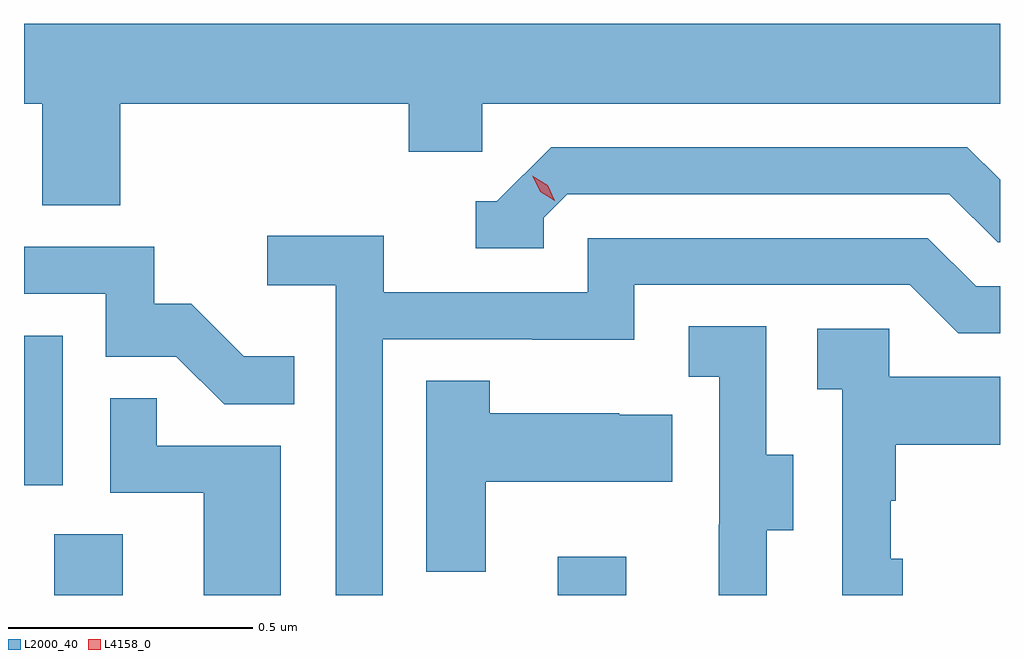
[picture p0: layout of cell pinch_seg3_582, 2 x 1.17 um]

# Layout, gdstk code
import gdstk
lib = gdstk.Library(unit=1e-6, precision=1e-09)
def R(c, l, rs):  # rectangles x0, y0, x1, y1
    for r in rs: c.add(gdstk.rectangle(r[:2], r[2:], *l))
def P(c, l, *ps):  # polygons
    for p in ps: c.add(gdstk.Polygon(p, *l))
L2000_40 = (2000, 40)
L4158_0 = (4158, 0)

pinch_seg3_582 = lib.new_cell('pinch_seg3_582')
R(pinch_seg3_582, L2000_40, [(1034.375,705.237,1034.515,705.362), (1035.407,705.237,1035.547,705.316), (1034.313,705.462,1034.392,705.769)])
P(pinch_seg3_582, L2000_40, [(1034.51,706.244),(1035.101,706.244),(1035.101,706.146),(1035.252,706.146),(1035.252,706.244),(1036.313,706.244),(1036.313,706.408),(1034.313,706.408),(1034.313,706.244),(1034.35,706.244),(1034.35,706.036),(1034.51,706.036)],
  [(1035.378,706.011),(1035.426,706.059),(1036.209,706.059),(1036.308,705.96),(1036.313,705.96),(1036.313,706.088),(1036.246,706.155),(1035.393,706.155),(1035.282,706.044),(1035.239,706.044),(1035.239,705.948),(1035.378,705.948)],
  [(1035.048,705.762),(1035.355,705.762),(1035.355,705.761),(1035.564,705.761),(1035.564,705.873),(1036.128,705.873),(1036.227,705.774),(1036.313,705.774),(1036.313,705.87),(1036.264,705.87),(1036.165,705.969),(1035.468,705.969),(1035.468,705.858),(1035.05,705.858),(1035.05,705.974),(1034.811,705.974),(1034.811,705.872),(1034.952,705.872),(1034.952,705.237),(1035.048,705.237)],
  [(1034.867,705.727),(1034.763,705.727),(1034.656,705.834),(1034.58,705.834),(1034.58,705.951),(1034.313,705.951),(1034.313,705.855),(1034.481,705.855),(1034.481,705.726),(1034.625,705.726),(1034.723,705.628),(1034.867,705.628)],
  [(1035.835,705.37),(1035.889,705.37),(1035.889,705.525),(1035.834,705.525),(1035.834,705.788),(1035.675,705.788),(1035.675,705.685),(1035.738,705.685),(1035.738,705.381),(1035.737,705.381),(1035.737,705.237),(1035.835,705.237)],
  [(1036.114,705.312),(1036.089,705.312),(1036.089,705.431),(1036.099,705.431),(1036.099,705.545),(1036.313,705.545),(1036.313,705.685),(1036.086,705.685),(1036.086,705.783),(1035.939,705.783),(1035.939,705.659),(1035.99,705.659),(1035.99,705.237),(1036.114,705.237)],
  [(1035.259,705.47),(1035.641,705.47),(1035.641,705.607),(1035.533,705.607),(1035.533,705.61),(1035.267,705.61),(1035.267,705.677),(1035.137,705.677),(1035.137,705.285),(1035.259,705.285)],
  [(1034.839,705.543),(1034.585,705.543),(1034.585,705.641),(1034.49,705.641),(1034.49,705.447),(1034.681,705.447),(1034.681,705.237),(1034.839,705.237)])
P(pinch_seg3_582, L4158_0, [(1035.401,706.045),(1035.371,706.064),(1035.355,706.097),(1035.355,706.097),(1035.355,706.097),(1035.386,706.077),(1035.401,706.045),(1035.401,706.045)])

lib.write_gds('pinch_seg3_582.gds')
